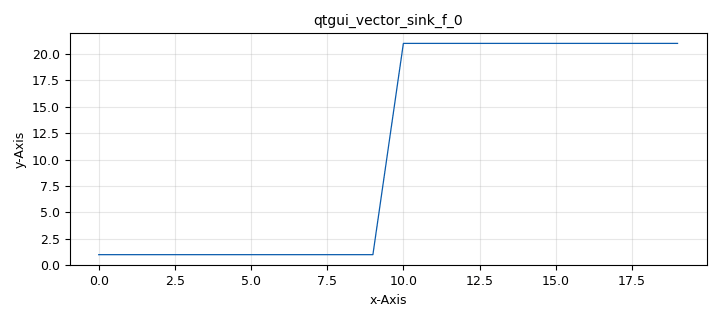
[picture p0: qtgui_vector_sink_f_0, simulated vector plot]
<?xml version='1.0' encoding='utf-8'?>
<?grc format='1' created='3.7.11'?>
<flow_graph>
<block>
<key>options</key>
<param><key>id</key><value>B6_fitting_chi2_step</value></param>
<param><key>generate_options</key><value>qt_gui</value></param>
<param><key>title</key><value>B6  Basic Chi-square-based Fitting - Step Function</value></param>
</block>
<block>
<key>variable_qtgui_range</key>
<param><key>id</key><value>grad</value></param>
<param><key>value</key><value>20</value></param>
<param><key>gui_hint</key><value>0,0</value></param>
<param><key>label</key><value>Amplitude</value></param>
<param><key>orient</key><value>Qt.Horizontal</value></param>
<param><key>start</key><value>1</value></param>
<param><key>step</key><value>0.1</value></param>
<param><key>stop</key><value>100</value></param>
</block>
<block>
<key>variable</key>
<param><key>id</key><value>num_samples</value></param>
<param><key>value</key><value>20</value></param>
</block>
<block>
<key>variable_qtgui_range</key>
<param><key>id</key><value>offset</value></param>
<param><key>value</key><value>1</value></param>
<param><key>gui_hint</key><value>0,1</value></param>
<param><key>label</key><value>Offset</value></param>
<param><key>orient</key><value>Qt.Horizontal</value></param>
<param><key>start</key><value>0</value></param>
<param><key>step</key><value>0.1</value></param>
<param><key>stop</key><value>10</value></param>
</block>
<block>
<key>variable</key>
<param><key>id</key><value>samp_rate</value></param>
<param><key>value</key><value>100</value></param>
</block>
<block>
<key>block_error_band</key>
<param><key>id</key><value>block_error_band_0</value></param>
</block>
<block>
<key>block_error_band</key>
<param><key>id</key><value>block_error_band_0_0</value></param>
</block>
<block>
<key>block_error_band</key>
<param><key>id</key><value>block_error_band_0_0_0</value></param>
</block>
<block>
<key>blocks_add_const_vxx</key>
<param><key>id</key><value>blocks_add_const_vxx_0</value></param>
<param><key>const</key><value>offset</value></param>
<param><key>type</key><value>float</value></param>
</block>
<block>
<key>blocks_multiply_const_vxx</key>
<param><key>id</key><value>blocks_multiply_const_vxx_0</value></param>
<param><key>const</key><value>grad</value></param>
<param><key>type</key><value>float</value></param>
</block>
<block>
<key>blocks_null_sink</key>
<param><key>id</key><value>blocks_null_sink_2</value></param>
<param><key>bus_conns</key><value>[[0,],]</value></param>
<param><key>type</key><value>byte</value></param>
</block>
<block>
<key>blocks_stream_to_vector</key>
<param><key>id</key><value>blocks_stream_to_vector_0</value></param>
<param><key>type</key><value>float</value></param>
<param><key>num_items</key><value>num_samples</value></param>
</block>
<block>
<key>blocks_throttle</key>
<param><key>id</key><value>blocks_throttle_0</value></param>
<param><key>samples_per_second</key><value>samp_rate</value></param>
<param><key>type</key><value>float</value></param>
<param><key>vlen</key><value>num_samples</value></param>
</block>
<block>
<key>blocks_vector_source_x</key>
<param><key>id</key><value>blocks_vector_source_x_0</value></param>
<param><key>type</key><value>float</value></param>
<param><key>repeat</key><value>True</value></param>
<param><key>tags</key><value>[ ]</value></param>
<param><key>vector</key><value>(0,0,0,0,0,0,0,0,0,0,1,1,1,1,1,1,1,1,1,1)</value></param>
</block>
<block>
<key>blocks_vector_to_streams</key>
<param><key>id</key><value>blocks_vector_to_streams_0</value></param>
<param><key>type</key><value>float</value></param>
<param><key>num_streams</key><value>3</value></param>
</block>
<block>
<key>blocks_vector_to_streams</key>
<param><key>id</key><value>blocks_vector_to_streams_0_0</value></param>
<param><key>type</key><value>float</value></param>
<param><key>num_streams</key><value>3</value></param>
</block>
<block>
<key>digitizers_chi_square_fit</key>
<param><key>id</key><value>digitizers_chi_square_fit_0</value></param>
<param><key>fun_u</key><value>num_samples-1</value></param>
<param><key>fun_l</key><value>0</value></param>
<param><key>function</key><value>[1]*(0.5+0.5*TMath::Erf((x-[0])/[2]))</value></param>
<param><key>chi_sq</key><value>0.001</value></param>
<param><key>num_params</key><value>3</value></param>
<param><key>num_samps</key><value>num_samples</value></param>
<param><key>param_fit</key><value>True, True, True</value></param>
<param><key>param_err</key><value>0, 0, 0</value></param>
<param><key>param_init</key><value>2, 1, 1.0</value></param>
<param><key>par_names</key><value>Delay, Amplitude, Slope</value></param>
<param><key>par_sp_l</key><value>-0, -600, 0.0</value></param>
<param><key>par_sp_u</key><value>num_samples, +600, 10</value></param>
</block>
<block>
<key>qtgui_time_sink_x</key>
<param><key>id</key><value>qtgui_time_sink_x_0</value></param>
<param><key>autoscale</key><value>True</value></param>
<param><key>gui_hint</key><value>3,0,1,2</value></param>
<param><key>grid</key><value>True</value></param>
<param><key>color1</key><value>"blue"</value></param>
<param><key>label1</key><value>Delay + error</value></param>
<param><key>style1</key><value>2</value></param>
<param><key>color2</key><value>"blue"</value></param>
<param><key>label2</key><value>Delay + error</value></param>
<param><key>color3</key><value>"blue"</value></param>
<param><key>label3</key><value>Delay - error</value></param>
<param><key>style3</key><value>2</value></param>
<param><key>color4</key><value>"red"</value></param>
<param><key>label4</key><value>Amplitude + error</value></param>
<param><key>style4</key><value>2</value></param>
<param><key>color5</key><value>"red"</value></param>
<param><key>label5</key><value>Amplitude</value></param>
<param><key>color6</key><value>"red"</value></param>
<param><key>label6</key><value>Amplitude - error</value></param>
<param><key>style6</key><value>2</value></param>
<param><key>color7</key><value>"green"</value></param>
<param><key>label7</key><value>Slope + error</value></param>
<param><key>style7</key><value>2</value></param>
<param><key>color8</key><value>"green"</value></param>
<param><key>label8</key><value>Slope</value></param>
<param><key>color9</key><value>"green"</value></param>
<param><key>label9</key><value>Slope - error</value></param>
<param><key>style9</key><value>2</value></param>
<param><key>nconnections</key><value>9</value></param>
<param><key>size</key><value>100</value></param>
<param><key>srate</key><value>samp_rate</value></param>
<param><key>type</key><value>float</value></param>
</block>
<block>
<key>qtgui_time_sink_x</key>
<param><key>id</key><value>qtgui_time_sink_x_0_0</value></param>
<param><key>autoscale</key><value>True</value></param>
<param><key>gui_hint</key><value>4,0,1,2</value></param>
<param><key>grid</key><value>True</value></param>
<param><key>color1</key><value>"blue"</value></param>
<param><key>label1</key><value>\chi-square</value></param>
<param><key>size</key><value>100</value></param>
<param><key>srate</key><value>samp_rate</value></param>
<param><key>type</key><value>float</value></param>
</block>
<block>
<key>qtgui_vector_sink_f</key>
<param><key>id</key><value>qtgui_vector_sink_f_0</value></param>
<param><key>autoscale</key><value>True</value></param>
<param><key>gui_hint</key><value>2,0,1,2</value></param>
<param><key>grid</key><value>True</value></param>
<param><key>showports</key><value>True</value></param>
<param><key>vlen</key><value>num_samples</value></param>
<param><key>x_start</key><value>0</value></param>
<param><key>x_step</key><value>1.0</value></param>
</block>
<connection><source_block_id>block_error_band_0</source_block_id><sink_block_id>qtgui_time_sink_x_0</sink_block_id><source_key>0</source_key><sink_key>0</sink_key></connection>
<connection><source_block_id>block_error_band_0</source_block_id><sink_block_id>qtgui_time_sink_x_0</sink_block_id><source_key>2</source_key><sink_key>2</sink_key></connection>
<connection><source_block_id>block_error_band_0</source_block_id><sink_block_id>qtgui_time_sink_x_0</sink_block_id><source_key>1</source_key><sink_key>1</sink_key></connection>
<connection><source_block_id>block_error_band_0_0</source_block_id><sink_block_id>qtgui_time_sink_x_0</sink_block_id><source_key>0</source_key><sink_key>3</sink_key></connection>
<connection><source_block_id>block_error_band_0_0</source_block_id><sink_block_id>qtgui_time_sink_x_0</sink_block_id><source_key>2</source_key><sink_key>5</sink_key></connection>
<connection><source_block_id>block_error_band_0_0</source_block_id><sink_block_id>qtgui_time_sink_x_0</sink_block_id><source_key>1</source_key><sink_key>4</sink_key></connection>
<connection><source_block_id>block_error_band_0_0_0</source_block_id><sink_block_id>qtgui_time_sink_x_0</sink_block_id><source_key>0</source_key><sink_key>6</sink_key></connection>
<connection><source_block_id>block_error_band_0_0_0</source_block_id><sink_block_id>qtgui_time_sink_x_0</sink_block_id><source_key>2</source_key><sink_key>8</sink_key></connection>
<connection><source_block_id>block_error_band_0_0_0</source_block_id><sink_block_id>qtgui_time_sink_x_0</sink_block_id><source_key>1</source_key><sink_key>7</sink_key></connection>
<connection><source_block_id>blocks_add_const_vxx_0</source_block_id><sink_block_id>blocks_stream_to_vector_0</sink_block_id><source_key>0</source_key><sink_key>0</sink_key></connection>
<connection><source_block_id>blocks_multiply_const_vxx_0</source_block_id><sink_block_id>blocks_add_const_vxx_0</sink_block_id><source_key>0</source_key><sink_key>0</sink_key></connection>
<connection><source_block_id>blocks_stream_to_vector_0</source_block_id><sink_block_id>blocks_throttle_0</sink_block_id><source_key>0</source_key><sink_key>0</sink_key></connection>
<connection><source_block_id>blocks_throttle_0</source_block_id><sink_block_id>digitizers_chi_square_fit_0</sink_block_id><source_key>0</source_key><sink_key>0</sink_key></connection>
<connection><source_block_id>blocks_throttle_0</source_block_id><sink_block_id>qtgui_vector_sink_f_0</sink_block_id><source_key>0</source_key><sink_key>0</sink_key></connection>
<connection><source_block_id>blocks_vector_source_x_0</source_block_id><sink_block_id>blocks_multiply_const_vxx_0</sink_block_id><source_key>0</source_key><sink_key>0</sink_key></connection>
<connection><source_block_id>blocks_vector_to_streams_0</source_block_id><sink_block_id>block_error_band_0</sink_block_id><source_key>0</source_key><sink_key>0</sink_key></connection>
<connection><source_block_id>blocks_vector_to_streams_0</source_block_id><sink_block_id>block_error_band_0_0</sink_block_id><source_key>1</source_key><sink_key>0</sink_key></connection>
<connection><source_block_id>blocks_vector_to_streams_0</source_block_id><sink_block_id>block_error_band_0_0_0</sink_block_id><source_key>2</source_key><sink_key>0</sink_key></connection>
<connection><source_block_id>blocks_vector_to_streams_0_0</source_block_id><sink_block_id>block_error_band_0</sink_block_id><source_key>0</source_key><sink_key>1</sink_key></connection>
<connection><source_block_id>blocks_vector_to_streams_0_0</source_block_id><sink_block_id>block_error_band_0_0</sink_block_id><source_key>1</source_key><sink_key>1</sink_key></connection>
<connection><source_block_id>blocks_vector_to_streams_0_0</source_block_id><sink_block_id>block_error_band_0_0_0</sink_block_id><source_key>2</source_key><sink_key>1</sink_key></connection>
<connection><source_block_id>digitizers_chi_square_fit_0</source_block_id><sink_block_id>qtgui_time_sink_x_0_0</sink_block_id><source_key>2</source_key><sink_key>0</sink_key></connection>
<connection><source_block_id>digitizers_chi_square_fit_0</source_block_id><sink_block_id>blocks_vector_to_streams_0_0</sink_block_id><source_key>1</source_key><sink_key>0</sink_key></connection>
<connection><source_block_id>digitizers_chi_square_fit_0</source_block_id><sink_block_id>blocks_null_sink_2</sink_block_id><source_key>3</source_key><sink_key>0</sink_key></connection>
<connection><source_block_id>digitizers_chi_square_fit_0</source_block_id><sink_block_id>blocks_vector_to_streams_0</sink_block_id><source_key>0</source_key><sink_key>0</sink_key></connection>
</flow_graph>
